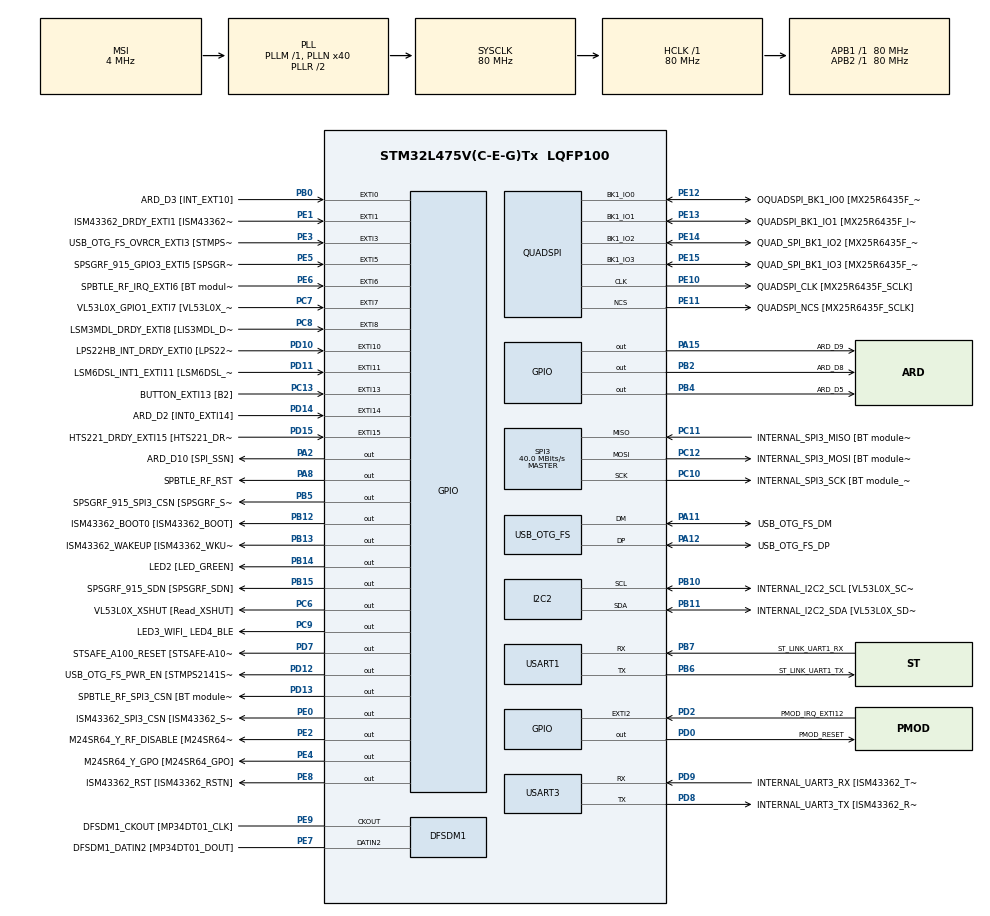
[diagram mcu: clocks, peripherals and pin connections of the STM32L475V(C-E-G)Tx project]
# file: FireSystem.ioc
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FREERTOS.BinarySemaphores01=myBinarySem01,Dynamic,NULL;myBinarySem02,Dynamic,NULL;myBinarySem03,Dynamic,NULL
FREERTOS.Mutexes01=myMutex01,Dynamic,NULL
FREERTOS.Queues01=myQueue01,256,Data,0,Dynamic,NULL,NULL;myQueue02,64,Temp,0,Dynamic,NULL,NULL;myQueue03,64,Temp,0,Dynamic,NULL,NULL
FREERTOS.Tasks01=TaskBottone,2,128,StartTaskBottone,Default,NULL,Dynamic,NULL,NULL;TaskTemperatura,0,128,StartTaskTemperatura,Default,NULL,Dynamic,NULL,NULL;TaskDistanza,0,512,StartTaskDistanza,Default,NULL,Dynamic,NULL,NULL;TaskLed,0,128,StartTaskLed,Default,NULL,Dynamic,NULL,NULL
FREERTOS.configENABLE_FPU=1
FREERTOS.configGENERATE_RUN_TIME_STATS=1
FREERTOS.configRECORD_STACK_HIGH_ADDRESS=1
FREERTOS.configTOTAL_HEAP_SIZE=8000
FREERTOS.configUSE_APPLICATION_TASK_TAG=1
FREERTOS.configUSE_COUNTING_SEMAPHORES=1
FREERTOS.configUSE_CO_ROUTINES=1
FREERTOS.configUSE_IDLE_HOOK=1
FREERTOS.configUSE_MALLOC_FAILED_HOOK=1
FREERTOS.configUSE_RECURSIVE_MUTEXES=1
FREERTOS.configUSE_STATS_FORMATTING_FUNCTIONS=1
FREERTOS.configUSE_TICK_HOOK=1
FREERTOS.configUSE_TIMERS=1
FREERTOS.configUSE_TRACE_FACILITY=1
Mcu.Family=STM32L4
Mcu.Name=STM32L475V(C-E-G)Tx
Mcu.Package=LQFP100
NVIC.EXTI15_10_IRQn=true\:5\:0\:false\:false\:true\:true\:true\:true
NVIC.EXTI9_5_IRQn=true\:5\:0\:false\:false\:true\:true\:true\:true
NVIC.PriorityGroup=NVIC_PRIORITYGROUP_4
PA0.GPIO_Label=ARD_D1 [UART4_TX]
PA0.Signal=UART4_TX
PA1.GPIO_Label=ARD_D0 [UART4_RX]
PA1.Signal=UART4_RX
PA10.GPIO_Label=USB_OTG_FS_ID
PA10.Signal=USB_OTG_FS_ID
PA11.GPIO_Label=USB_OTG_FS_DM
PA11.Mode=Device_Only
PA11.Signal=USB_OTG_FS_DM
PA12.GPIO_Label=USB_OTG_FS_DP
PA12.Mode=Device_Only
PA12.Signal=USB_OTG_FS_DP
PA13\ (JTMS-SWDIO).GPIO_Label=SYS_JTMS_SWDIO
PA13\ (JTMS-SWDIO).Mode=Serial_Wire
PA13\ (JTMS-SWDIO).Signal=SYS_JTMS-SWDIO
PA14\ (JTCK-SWCLK).GPIO_Label=SYS_JTCK_SWCLK
PA14\ (JTCK-SWCLK).Mode=Serial_Wire
PA14\ (JTCK-SWCLK).Signal=SYS_JTCK-SWCLK
PA15\ (JTDI).GPIO_Label=ARD_D9
PA15\ (JTDI).Signal=GPIO_Output
PA2.GPIO_Label=ARD_D10 [SPI_SSN]
PA2.Signal=GPIO_Output
PA3.GPIO_Label=ARD_D4
PA3.Signal=S_TIM2_CH4
PA4.GPIO_Label=ARD_D7
PA4.Signal=ADCx_IN9
PA5.GPIO_Label=ARD_D13 [SPI1_SCK]
PA5.Signal=SPI1_SCK
PA6.GPIO_Label=ARD_D12 [SPI1_MISO]
PA6.Signal=SPI1_MISO
PA7.GPIO_Label=ARD_D11 [SPI1_MOSI]
PA7.Signal=SPI1_MOSI
PA8.GPIO_Label=SPBTLE_RF_RST
PA8.Signal=GPIO_Output
PA9.GPIO_Label=USB_OTG_FS_VBUS [STMPS2141STR_OUT]
PA9.Signal=USB_OTG_FS_VBUS
PB0.GPIO_Label=ARD_D3 [INT_EXT10]
PB0.Signal=GPXTI0
PB1.GPIO_Label=ARD_D6 [ADC1_IN6]
PB1.Signal=ADCx_IN16
PB10.GPIO_Label=INTERNAL_I2C2_SCL [VL53L0X_SCL]
PB10.Mode=I2C
PB10.Signal=I2C2_SCL
PB11.GPIO_Label=INTERNAL_I2C2_SDA [VL53L0X_SDA]
PB11.Mode=I2C
PB11.Signal=I2C2_SDA
PB12.GPIO_Label=ISM43362_BOOT0 [ISM43362_BOOT]
PB12.Signal=GPIO_Output
PB13.GPIO_Label=ISM43362_WAKEUP [ISM43362_WKUP]
PB13.Signal=GPIO_Output
PB14.GPIO_Label=LED2 [LED_GREEN]
PB14.Signal=GPIO_Output
PB15.GPIO_Label=SPSGRF_915_SDN [SPSGRF_SDN]
PB15.Signal=GPIO_Output
PB2.GPIO_Label=ARD_D8
PB2.Signal=GPIO_Output
PB3\ (JTDO-TRACESWO).GPIO_Label=SYS_JTD0_SWO
PB3\ (JTDO-TRACESWO).Signal=SYS_JTDO-SWO
PB4\ (NJTRST).GPIO_Label=ARD_D5
PB4\ (NJTRST).Signal=GPIO_Output
PB5.GPIO_Label=SPSGRF_915_SPI3_CSN [SPSGRF_SPI_CS]
PB5.PinState=GPIO_PIN_SET
PB5.Signal=GPIO_Output
PB6.GPIO_Label=ST_LINK_UART1_TX
PB6.Mode=Asynchronous
PB6.Signal=USART1_TX
PB7.GPIO_Label=ST_LINK_UART1_RX
PB7.Mode=Asynchronous
PB7.Signal=USART1_RX
PB8.GPIO_Label=ARD_D15 [I2C1_SCL]
PB8.Signal=I2C1_SCL
PB9.GPIO_Label=ARD_D14 [I2C1_SDA]
PB9.Signal=I2C1_SDA
PC0.GPIO_Label=ARD_A5 [ADC]
PC0.Signal=ADCx_IN1
PC1.GPIO_Label=ARD_A4 [ADC]
PC1.Signal=ADCx_IN2
PC10.GPIO_Label=INTERNAL_SPI3_SCK [BT module_SPI_SCLK] [ISM43362_SCK]
PC10.Mode=Full_Duplex_Master
PC10.Signal=SPI3_SCK
PC11.GPIO_Label=INTERNAL_SPI3_MISO [BT module_SPI_MISO] [ISM43362_MISO]
PC11.Mode=Full_Duplex_Master
PC11.Signal=SPI3_MISO
PC12.GPIO_Label=INTERNAL_SPI3_MOSI [BT module_SPI_MOSI] [ISM43362_MOSI]
PC12.Mode=Full_Duplex_Master
PC12.Signal=SPI3_MOSI
PC13.GPIO_Label=BUTTON_EXTI13 [B2]
PC13.GPIO_ModeDefaultEXTI=GPIO_MODE_IT_FALLING
PC13.Signal=GPXTI13
PC14-OSC32_IN\ (PC14).Mode=LSE-External-Oscillator
PC14-OSC32_IN\ (PC14).Signal=RCC_OSC32_IN
PC15-OSC32_OUT\ (PC15).Mode=LSE-External-Oscillator
PC15-OSC32_OUT\ (PC15).Signal=RCC_OSC32_OUT
PC2.GPIO_Label=ARD_A3 [ADC]
PC2.Signal=ADCx_IN3
PC3.GPIO_Label=ARD_A2 [ADC]
PC3.Signal=ADCx_IN4
PC4.GPIO_Label=ARD_A1 [ADC]
PC4.Signal=ADCx_IN13
PC5.GPIO_Label=ARD_A0 [ADC]
PC5.Signal=ADCx_IN14
PC6.GPIO_Label=VL53L0X_XSHUT [Read_XSHUT]
PC6.Signal=GPIO_Output
PC7.GPIO_Label=VL53L0X_GPIO1_EXTI7 [VL53L0X_GPIO1]
PC7.Signal=GPXTI7
PC8.GPIO_Label=LSM3MDL_DRDY_EXTI8 [LIS3MDL_DRDY]
PC8.Signal=GPXTI8
PC9.GPIO_Label=LED3_WIFI_ LED4_BLE
PC9.Signal=GPIO_Output
PD0.GPIO_Label=PMOD_RESET
PD0.Signal=GPIO_Output
PD1.GPIO_Label=PMOD_SPI2_SCK
PD1.Signal=SPI2_SCK
PD10.GPIO_Label=LPS22HB_INT_DRDY_EXTI0 [LPS22HB_INT_DRDY] 
PD10.Signal=GPXTI10
PD11.GPIO_Label=LSM6DSL_INT1_EXTI11 [LSM6DSL_INT1]
PD11.Signal=GPXTI11
PD12.GPIO_Label=USB_OTG_FS_PWR_EN [STMPS2141STR_EN]
PD12.Signal=GPIO_Output
PD13.GPIO_Label=SPBTLE_RF_SPI3_CSN [BT module_SPI_CS]
PD13.PinState=GPIO_PIN_SET
PD13.Signal=GPIO_Output
PD14.GPIO_Label=ARD_D2 [INT0_EXTI14]
PD14.Signal=GPXTI14
PD15.GPIO_Label=HTS221_DRDY_EXTI15 [HTS221_DRDY]
PD15.Signal=GPXTI15
PD2.GPIO_Label=PMOD_IRQ_EXTI12
PD2.Signal=GPXTI2
PD3.GPIO_Label=PMOD_UART2_CTS
PD3.Signal=USART2_CTS
PD4.GPIO_Label=PMOD_UART2_RTS
PD4.Signal=USART2_RTS
PD5.GPIO_Label=PMOD_UART2_TX
PD5.Signal=USART2_TX
PD6.GPIO_Label=PMOD_UART2_RX
PD6.Signal=USART2_RX
PD7.GPIO_Label=STSAFE_A100_RESET [STSAFE-A100_RESET]
PD7.Signal=GPIO_Output
PD8.GPIO_Label=INTERNAL_UART3_TX [ISM43362_RX]
PD8.Mode=Asynchronous
PD8.Signal=USART3_TX
PD9.GPIO_Label=INTERNAL_UART3_RX [ISM43362_TX]
PD9.Mode=Asynchronous
PD9.Signal=USART3_RX
PE0.GPIO_Label=ISM43362_SPI3_CSN [ISM43362_SSN]
PE0.PinState=GPIO_PIN_SET
PE0.Signal=GPIO_Output
PE1.GPIO_Label=ISM43362_DRDY_EXTI1 [ISM43362_DATARDY]
PE1.Signal=GPXTI1
PE10.GPIO_Label=QUADSPI_CLK [MX25R6435F_SCLK]
PE10.Mode=Single Bank
PE10.Signal=QUADSPI_CLK
PE11.GPIO_Label=QUADSPI_NCS [MX25R6435F_SCLK]
PE11.Mode=Single Bank
PE11.Signal=QUADSPI_NCS
PE12.GPIO_Label=OQUADSPI_BK1_IO0 [MX25R6435F_IO0]
PE12.Mode=Single Bank
PE12.Signal=QUADSPI_BK1_IO0
PE13.GPIO_Label=QUADSPI_BK1_IO1 [MX25R6435F_IO1]
PE13.Mode=Single Bank
PE13.Signal=QUADSPI_BK1_IO1
PE14.GPIO_Label=QUAD_SPI_BK1_IO2 [MX25R6435F_IO2]
PE14.Mode=Single Bank
PE14.Signal=QUADSPI_BK1_IO2
PE15.GPIO_Label=QUAD_SPI_BK1_IO3 [MX25R6435F_IO3]
PE15.Mode=Single Bank
PE15.Signal=QUADSPI_BK1_IO3
PE2.GPIO_Label=M24SR64_Y_RF_DISABLE [M24SR64_RFDIS]
PE2.Signal=GPIO_Output
PE3.GPIO_Label=USB_OTG_FS_OVRCR_EXTI3 [STMPS2141STR_FAULT]
PE3.Signal=GPXTI3
PE4.GPIO_Label=M24SR64_Y_GPO [M24SR64_GPO]
PE4.Signal=GPIO_Output
PE5.GPIO_Label=SPSGRF_915_GPIO3_EXTI5 [SPSGRF_GPIO_3]
PE5.Signal=GPXTI5
PE6.GPIO_Label=SPBTLE_RF_IRQ_EXTI6 [BT module_SPI_IRQ]
PE6.Signal=GPXTI6
PE7.GPIO_Label=DFSDM1_DATIN2 [MP34DT01_DOUT]
PE7.Signal=S_DATAIN2DFSDM1
PE8.GPIO_Label=ISM43362_RST [ISM43362_RSTN]
PE8.Signal=GPIO_Output
PE9.GPIO_Label=DFSDM1_CKOUT [MP34DT01_CLK]
PE9.Signal=S_CKOUTDFSDM1
ProjectManager.HeapSize=0x200
ProjectManager.StackSize=0x400
ProjectManager.TargetToolchain=STM32CubeIDE
RCC.ADCFreq_Value=48000000
RCC.AHBFreq_Value=80000000
RCC.APB1Freq_Value=80000000
RCC.APB1TimFreq_Value=80000000
RCC.APB2Freq_Value=80000000
RCC.APB2TimFreq_Value=80000000
RCC.CortexFreq_Value=80000000
RCC.HCLKFreq_Value=80000000
RCC.HSE_VALUE=8000000
RCC.HSI_VALUE=16000000
RCC.MSI_VALUE=4000000
RCC.PLLN=40
RCC.PLLSAI1N=24
RCC.SYSCLKFreq_VALUE=80000000
RCC.SYSCLKSource=RCC_SYSCLKSOURCE_PLLCLK
RCC.USBFreq_Value=48000000
RCC.VCOOutputFreq_Value=160000000
SH.ADCx_IN1.0=ADC1_IN1
SH.ADCx_IN13.0=ADC1_IN13
SH.ADCx_IN14.0=ADC1_IN14
SH.ADCx_IN16.0=ADC1_IN16
SH.ADCx_IN2.0=ADC1_IN2
SH.ADCx_IN3.0=ADC1_IN3
SH.ADCx_IN4.0=ADC1_IN4
SH.ADCx_IN9.0=ADC1_IN9
SH.S_CKOUTDFSDM1.0=DFSDM1_CKOUT,CKOUT
SH.S_CKOUTDFSDM1.1=DFSDM1_CKOUT,PDM_SPI_Input_from_ch12_and_Internal_Clock
SH.S_DATAIN2DFSDM1.0=DFSDM1_DATIN2,PDM_SPI_Input_from_ch12_and_Internal_Clock
SH.S_TIM2_CH4.0=TIM2_CH4
SPI3.CalculateBaudRate=40.0 MBits/s
SPI3.Direction=SPI_DIRECTION_2LINES
SPI3.Mode=SPI_MODE_MASTER
SPI3.VirtualType=VM_MASTER
USART1.VirtualMode-Asynchronous=VM_ASYNC
USART3.VirtualMode-Asynchronous=VM_ASYNC
USB_OTG_FS.VirtualMode=Device_Only
VP_FREERTOS_VS_CMSIS_V1.Mode=CMSIS_V1
board=B-L475E-IOT01A1

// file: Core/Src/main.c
/* USER CODE BEGIN Header */
/**
  ******************************************************************************
  * @file           : main.c
  * @brief          : Main program body
  ******************************************************************************
  * @attention
  *
  * <h2><center>&copy; Copyright (c) 2020 STMicroelectronics.
  * All rights reserved.</center></h2>
  *
  * This software component is licensed by ST under BSD 3-Clause license,
  * the "License"; You may not use this file except in compliance with the
  * License. You may obtain a copy of the License at:
  *                        opensource.org/licenses/BSD-3-Clause
  *
  ******************************************************************************
  */
/* USER CODE END Header */

#include "main.h"
#include "cmsis_os.h"

/* USER CODE BEGIN Includes */
#include "vl53l0x_proximity.h"
#include "vl53l0x_platform.h"
#include "vl53l0x_device.h"

#include "stm32l4xx_hal.h"

#include "vl53l0x_api_ranging.h"
#include "vl53l0x_api.h"
#include "stdio.h"
#include "math.h"
#include "stm32l475e_iot01_tsensor.h"
#include "stm32l475e_iot01.h"
#include "tof_gestures_DIRSWIPE_1.h"
#include "tof_gestures_platform.h"
#include "tof_gestures_SWIPE_1.h"
#include "tof_gestures_TAP_1.h"
#include "tof_gestures_types.h"
#include "tof_gestures.h"
#include "tof_motion.h"

#include "message.h"
#include "time.h"
/* USER CODE END Includes */

/* USER CODE BEGIN PD */
#define tempMax 28
#define nTempValid 5
#define distMax 100
#define distMin 50
/* USER CODE END PD */

DFSDM_Channel_HandleTypeDef hdfsdm1_channel1;

I2C_HandleTypeDef hi2c2;

QSPI_HandleTypeDef hqspi;

SPI_HandleTypeDef hspi3;

UART_HandleTypeDef huart1;
UART_HandleTypeDef huart3;

PCD_HandleTypeDef hpcd_USB_OTG_FS;

osThreadId TaskBottoneHandle;
osThreadId TaskTemperaturaHandle;
osThreadId TaskDistanzaHandle;
osThreadId TaskLedHandle;
osMessageQId myQueue01Handle;
osMessageQId myQueue02Handle;
osMessageQId myQueue03Handle;
osMutexId myMutex01Handle;
osSemaphoreId myBinarySem01Handle;
osSemaphoreId myBinarySem02Handle;
osSemaphoreId myBinarySem03Handle;
/* USER CODE BEGIN PV */
char str_tmp2[30];
char str_tmp4[30];
char str_tmp5[30];
char arrivato[20]="arrivato\r\n";
int delay = 1500;
int messaggioInviato = 0;
int messaggioTrasmesso = 0;
uint8_t temp_value=0;
int nTempBasse=0;
int nTempAlte=0;
int b2=1;
int b3=1;
osEvent distanzaRicevuta;
osEvent tempRicevuta;
osEvent statoPulsanteRicevuto;
uint32_t bitstatus=0;
int pulsante = 0;
int incendio = 0;
int action = 0;

uint32_t time1=0;
uint32_t time2=0;
uint32_t time3=0;
uint32_t time4=0;

typedef struct{
	uint16_t Distance;
	int Gesture;
} Data;

typedef struct{
	uint16_t tempValue;
	int id;
} Temp;

Gesture_SWIPE_1_Data_t gestureSwipeData;

/* USER CODE END PV */

void SystemClock_Config(void);
static void MX_GPIO_Init(void);
static void MX_DFSDM1_Init(void);
static void MX_I2C2_Init(void);
static void MX_QUADSPI_Init(void);
static void MX_SPI3_Init(void);
static void MX_USART1_UART_Init(void);
static void MX_USART3_UART_Init(void);
static void MX_USB_OTG_FS_PCD_Init(void);
void StartTaskBottone(void const * argument);
void StartTaskTemperatura(void const * argument);
void StartTaskDistanza(void const * argument);
void StartTaskLed(void const * argument);

int main(void)
{

  /* MCU Configuration--------------------------------------------------------*/

  /* Reset of all peripherals, Initializes the Flash interface and the Systick. */
  HAL_Init();

  /* Configure the system clock */
  SystemClock_Config();

  /* Initialize all configured peripherals */
  MX_GPIO_Init();
  MX_DFSDM1_Init();
  MX_I2C2_Init();
  MX_QUADSPI_Init();
  MX_SPI3_Init();
  MX_USART1_UART_Init();
  MX_USART3_UART_Init();
  MX_USB_OTG_FS_PCD_Init();
  /* USER CODE BEGIN 2 */
  VL53L0X_PROXIMITY_Init();
  BSP_TSENSOR_Init();
  tof_gestures_initSWIPE_1(&gestureSwipeData);
  /* USER CODE END 2 */
  /* Create the mutex(es) */
  /* definition and creation of myMutex01 */
  osMutexDef(myMutex01);
  myMutex01Handle = osMutexCreate(osMutex(myMutex01));

  /* Create the semaphores(s) */
   /* definition and creation of myBinarySem02 */
  osSemaphoreDef(myBinarySem02);
  myBinarySem02Handle = osSemaphoreCreate(osSemaphore(myBinarySem02), 1);

  /* definition and creation of myBinarySem03 */
  osSemaphoreDef(myBinarySem03);
  myBinarySem03Handle = osSemaphoreCreate(osSemaphore(myBinarySem03), 1);

  /* Create the queue(s) */
  /* definition and creation of myQueue01 */
  osMessageQDef(myQueue01, 256, Data);
  myQueue01Handle = osMessageCreate(osMessageQ(myQueue01), NULL);

  /* definition and creation of myQueue02 */
  osMessageQDef(myQueue02, 64, Temp);
  myQueue02Handle = osMessageCreate(osMessageQ(myQueue02), NULL);

  /* definition and creation of myQueue03 */
  osMessageQDef(myQueue03, 64, Temp);
  myQueue03Handle = osMessageCreate(osMessageQ(myQueue03), NULL);

  /* Create the thread(s) */
  /* definition and creation of TaskBottone */
  osThreadDef(TaskBottone, StartTaskBottone, osPriorityHigh, 0, 128);
  TaskBottoneHandle = osThreadCreate(osThread(TaskBottone), NULL);

  /* definition and creation of TaskTemperatura */
  osThreadDef(TaskTemperatura, StartTaskTemperatura, osPriorityNormal, 0, 128);
  TaskTemperaturaHandle = osThreadCreate(osThread(TaskTemperatura), NULL);

  /* definition and creation of TaskDistanza */
  osThreadDef(TaskDistanza, StartTaskDistanza, osPriorityNormal, 0, 512);
  TaskDistanzaHandle = osThreadCreate(osThread(TaskDistanza), NULL);

  /* definition and creation of TaskLed */
  osThreadDef(TaskLed, StartTaskLed, osPriorityNormal, 0, 128);
  TaskLedHandle = osThreadCreate(osThread(TaskLed), NULL);

  /* Start scheduler */
  osKernelStart();

  /* We should never get here as control is now taken by the scheduler */

  /* Infinite loop */
  while (1)
  {

  }
}

void SystemClock_Config(void)
{
  RCC_OscInitTypeDef RCC_OscInitStruct = {0};
  RCC_ClkInitTypeDef RCC_ClkInitStruct = {0};
  RCC_PeriphCLKInitTypeDef PeriphClkInit = {0};

  /** Configure LSE Drive Capability
  */
  HAL_PWR_EnableBkUpAccess();
  __HAL_RCC_LSEDRIVE_CONFIG(RCC_LSEDRIVE_LOW);
  /** Initializes the CPU, AHB and APB busses clocks
  */
  RCC_OscInitStruct.OscillatorType = RCC_OSCILLATORTYPE_LSE|RCC_OSCILLATORTYPE_MSI;
  RCC_OscInitStruct.LSEState = RCC_LSE_ON;
  RCC_OscInitStruct.MSIState = RCC_MSI_ON;
  RCC_OscInitStruct.MSICalibrationValue = 0;
  RCC_OscInitStruct.MSIClockRange = RCC_MSIRANGE_6;
  RCC_OscInitStruct.PLL.PLLState = RCC_PLL_ON;
  RCC_OscInitStruct.PLL.PLLSource = RCC_PLLSOURCE_MSI;
  RCC_OscInitStruct.PLL.PLLM = 1;
  RCC_OscInitStruct.PLL.PLLN = 40;
  RCC_OscInitStruct.PLL.PLLP = RCC_PLLP_DIV7;
  RCC_OscInitStruct.PLL.PLLQ = RCC_PLLQ_DIV2;
  RCC_OscInitStruct.PLL.PLLR = RCC_PLLR_DIV2;
  if (HAL_RCC_OscConfig(&RCC_OscInitStruct) != HAL_OK)
  {
    Error_Handler();
  }
  /** Initializes the CPU, AHB and APB busses clocks
  */
  RCC_ClkInitStruct.ClockType = RCC_CLOCKTYPE_HCLK|RCC_CLOCKTYPE_SYSCLK
                              |RCC_CLOCKTYPE_PCLK1|RCC_CLOCKTYPE_PCLK2;
  RCC_ClkInitStruct.SYSCLKSource = RCC_SYSCLKSOURCE_PLLCLK;
  RCC_ClkInitStruct.AHBCLKDivider = RCC_SYSCLK_DIV1;
  RCC_ClkInitStruct.APB1CLKDivider = RCC_HCLK_DIV1;
  RCC_ClkInitStruct.APB2CLKDivider = RCC_HCLK_DIV1;

  if (HAL_RCC_ClockConfig(&RCC_ClkInitStruct, FLASH_LATENCY_4) != HAL_OK)
  {
    Error_Handler();
  }
  PeriphClkInit.PeriphClockSelection = RCC_PERIPHCLK_USART1|RCC_PERIPHCLK_USART3
                              |RCC_PERIPHCLK_I2C2|RCC_PERIPHCLK_DFSDM1
                              |RCC_PERIPHCLK_USB;
  PeriphClkInit.Usart1ClockSelection = RCC_USART1CLKSOURCE_PCLK2;
  PeriphClkInit.Usart3ClockSelection = RCC_USART3CLKSOURCE_PCLK1;
  PeriphClkInit.I2c2ClockSelection = RCC_I2C2CLKSOURCE_PCLK1;
  PeriphClkInit.Dfsdm1ClockSelection = RCC_DFSDM1CLKSOURCE_PCLK;
  PeriphClkInit.UsbClockSelection = RCC_USBCLKSOURCE_PLLSAI1;
  PeriphClkInit.PLLSAI1.PLLSAI1Source = RCC_PLLSOURCE_MSI;
  PeriphClkInit.PLLSAI1.PLLSAI1M = 1;
  PeriphClkInit.PLLSAI1.PLLSAI1N = 24;
  PeriphClkInit.PLLSAI1.PLLSAI1P = RCC_PLLP_DIV7;
  PeriphClkInit.PLLSAI1.PLLSAI1Q = RCC_PLLQ_DIV2;
  PeriphClkInit.PLLSAI1.PLLSAI1R = RCC_PLLR_DIV2;
  PeriphClkInit.PLLSAI1.PLLSAI1ClockOut = RCC_PLLSAI1_48M2CLK;
  if (HAL_RCCEx_PeriphCLKConfig(&PeriphClkInit) != HAL_OK)
  {
    Error_Handler();
  }
  /** Configure the main internal regulator output voltage
  */
  if (HAL_PWREx_ControlVoltageScaling(PWR_REGULATOR_VOLTAGE_SCALE1) != HAL_OK)
  {
    Error_Handler();
  }
  /** Enable MSI Auto calibration
  */
  HAL_RCCEx_EnableMSIPLLMode();
}

static void MX_DFSDM1_Init(void)
{

  hdfsdm1_channel1.Instance = DFSDM1_Channel1;
  hdfsdm1_channel1.Init.OutputClock.Activation = ENABLE;
  hdfsdm1_channel1.Init.OutputClock.Selection = DFSDM_CHANNEL_OUTPUT_CLOCK_SYSTEM;
  hdfsdm1_channel1.Init.OutputClock.Divider = 2;
  hdfsdm1_channel1.Init.Input.Multiplexer = DFSDM_CHANNEL_EXTERNAL_INPUTS;
  hdfsdm1_channel1.Init.Input.DataPacking = DFSDM_CHANNEL_STANDARD_MODE;
  hdfsdm1_channel1.Init.Input.Pins = DFSDM_CHANNEL_FOLLOWING_CHANNEL_PINS;
  hdfsdm1_channel1.Init.SerialInterface.Type = DFSDM_CHANNEL_SPI_RISING;
  hdfsdm1_channel1.Init.SerialInterface.SpiClock = DFSDM_CHANNEL_SPI_CLOCK_INTERNAL;
  hdfsdm1_channel1.Init.Awd.FilterOrder = DFSDM_CHANNEL_FASTSINC_ORDER;
  hdfsdm1_channel1.Init.Awd.Oversampling = 1;
  hdfsdm1_channel1.Init.Offset = 0;
  hdfsdm1_channel1.Init.RightBitShift = 0x00;
  if (HAL_DFSDM_ChannelInit(&hdfsdm1_channel1) != HAL_OK)
  {
    Error_Handler();
  }

}

static void MX_I2C2_Init(void)
{

  hi2c2.Instance = I2C2;
  hi2c2.Init.Timing = 0x10909CEC;
  hi2c2.Init.OwnAddress1 = 0;
  hi2c2.Init.AddressingMode = I2C_ADDRESSINGMODE_7BIT;
  hi2c2.Init.DualAddressMode = I2C_DUALADDRESS_DISABLE;
  hi2c2.Init.OwnAddress2 = 0;
  hi2c2.Init.OwnAddress2Masks = I2C_OA2_NOMASK;
  hi2c2.Init.GeneralCallMode = I2C_GENERALCALL_DISABLE;
  hi2c2.Init.NoStretchMode = I2C_NOSTRETCH_DISABLE;
  if (HAL_I2C_Init(&hi2c2) != HAL_OK)
  {
    Error_Handler();
  }
  /** Configure Analogue filter
  */
  if (HAL_I2CEx_ConfigAnalogFilter(&hi2c2, I2C_ANALOGFILTER_ENABLE) != HAL_OK)
  {
    Error_Handler();
  }
  /** Configure Digital filter
  */
  if (HAL_I2CEx_ConfigDigitalFilter(&hi2c2, 0) != HAL_OK)
  {
    Error_Handler();
  }

}

static void MX_QUADSPI_Init(void)
{

  /* QUADSPI parameter configuration*/
  hqspi.Instance = QUADSPI;
  hqspi.Init.ClockPrescaler = 255;
  hqspi.Init.FifoThreshold = 1;
  hqspi.Init.SampleShifting = QSPI_SAMPLE_SHIFTING_NONE;
  hqspi.Init.FlashSize = 1;
  hqspi.Init.ChipSelectHighTime = QSPI_CS_HIGH_TIME_1_CYCLE;
  hqspi.Init.ClockMode = QSPI_CLOCK_MODE_0;
  if (HAL_QSPI_Init(&hqspi) != HAL_OK)
  {
    Error_Handler();
  }

}

static void MX_SPI3_Init(void)
{

  /* SPI3 parameter configuration*/
  hspi3.Instance = SPI3;
  hspi3.Init.Mode = SPI_MODE_MASTER;
  hspi3.Init.Direction = SPI_DIRECTION_2LINES;
  hspi3.Init.DataSize = SPI_DATASIZE_4BIT;
  hspi3.Init.CLKPolarity = SPI_POLARITY_LOW;
  hspi3.Init.CLKPhase = SPI_PHASE_1EDGE;
  hspi3.Init.NSS = SPI_NSS_SOFT;
  hspi3.Init.BaudRatePrescaler = SPI_BAUDRATEPRESCALER_2;
  hspi3.Init.FirstBit = SPI_FIRSTBIT_MSB;
  hspi3.Init.TIMode = SPI_TIMODE_DISABLE;
  hspi3.Init.CRCCalculation = SPI_CRCCALCULATION_DISABLE;
  hspi3.Init.CRCPolynomial = 7;
  hspi3.Init.CRCLength = SPI_CRC_LENGTH_DATASIZE;
  hspi3.Init.NSSPMode = SPI_NSS_PULSE_ENABLE;
  if (HAL_SPI_Init(&hspi3) != HAL_OK)
  {
    Error_Handler();
  }

}

static void MX_USART1_UART_Init(void)
{

  huart1.Instance = USART1;
  huart1.Init.BaudRate = 115200;
  huart1.Init.WordLength = UART_WORDLENGTH_8B;
  huart1.Init.StopBits = UART_STOPBITS_1;
  huart1.Init.Parity = UART_PARITY_NONE;
  huart1.Init.Mode = UART_MODE_TX_RX;
  huart1.Init.HwFlowCtl = UART_HWCONTROL_NONE;
  huart1.Init.OverSampling = UART_OVERSAMPLING_16;
  huart1.Init.OneBitSampling = UART_ONE_BIT_SAMPLE_DISABLE;
  huart1.AdvancedInit.AdvFeatureInit = UART_ADVFEATURE_NO_INIT;
  if (HAL_UART_Init(&huart1) != HAL_OK)
  {
    Error_Handler();
  }

}

static void MX_USART3_UART_Init(void)
{

  huart3.Instance = USART3;
  huart3.Init.BaudRate = 115200;
  huart3.Init.WordLength = UART_WORDLENGTH_8B;
  huart3.Init.StopBits = UART_STOPBITS_1;
  huart3.Init.Parity = UART_PARITY_NONE;
  huart3.Init.Mode = UART_MODE_TX_RX;
  huart3.Init.HwFlowCtl = UART_HWCONTROL_NONE;
  huart3.Init.OverSampling = UART_OVERSAMPLING_16;
  huart3.Init.OneBitSampling = UART_ONE_BIT_SAMPLE_DISABLE;
  huart3.AdvancedInit.AdvFeatureInit = UART_ADVFEATURE_NO_INIT;
  if (HAL_UART_Init(&huart3) != HAL_OK)
  {
    Error_Handler();
  }

}

static void MX_USB_OTG_FS_PCD_Init(void)
{

  hpcd_USB_OTG_FS.Instance = USB_OTG_FS;
  hpcd_USB_OTG_FS.Init.dev_endpoints = 6;
  hpcd_USB_OTG_FS.Init.speed = PCD_SPEED_FULL;
  hpcd_USB_OTG_FS.Init.phy_itface = PCD_PHY_EMBEDDED;
  hpcd_USB_OTG_FS.Init.Sof_enable = DISABLE;
  hpcd_USB_OTG_FS.Init.low_power_enable = DISABLE;
  hpcd_USB_OTG_FS.Init.lpm_enable = DISABLE;
  hpcd_USB_OTG_FS.Init.battery_charging_enable = DISABLE;
  hpcd_USB_OTG_FS.Init.use_dedicated_ep1 = DISABLE;
  hpcd_USB_OTG_FS.Init.vbus_sensing_enable = DISABLE;
  if (HAL_PCD_Init(&hpcd_USB_OTG_FS) != HAL_OK)
  {
    Error_Handler();
  }

}

static void MX_GPIO_Init(void)
{
  GPIO_InitTypeDef GPIO_InitStruct = {0};

  /* GPIO Ports Clock Enable */
  __HAL_RCC_GPIOE_CLK_ENABLE();
  __HAL_RCC_GPIOC_CLK_ENABLE();
  __HAL_RCC_GPIOA_CLK_ENABLE();
  __HAL_RCC_GPIOB_CLK_ENABLE();
  __HAL_RCC_GPIOD_CLK_ENABLE();

  /*Configure GPIO pin Output Level */
  HAL_GPIO_WritePin(GPIOE, M24SR64_Y_RF_DISABLE_Pin|M24SR64_Y_GPO_Pin|ISM43362_RST_Pin, GPIO_PIN_RESET);

  /*Configure GPIO pin Output Level */
  HAL_GPIO_WritePin(GPIOA, ARD_D10_Pin|SPBTLE_RF_RST_Pin|ARD_D9_Pin, GPIO_PIN_RESET);

  /*Configure GPIO pin Output Level */
  HAL_GPIO_WritePin(GPIOB, ARD_D8_Pin|ISM43362_BOOT0_Pin|ISM43362_WAKEUP_Pin|LED2_Pin
                          |SPSGRF_915_SDN_Pin|ARD_D5_Pin, GPIO_PIN_RESET);

  /*Configure GPIO pin Output Level */
  HAL_GPIO_WritePin(GPIOD, USB_OTG_FS_PWR_EN_Pin|PMOD_RESET_Pin|STSAFE_A100_RESET_Pin, GPIO_PIN_RESET);

  /*Configure GPIO pin Output Level */
  HAL_GPIO_WritePin(SPBTLE_RF_SPI3_CSN_GPIO_Port, SPBTLE_RF_SPI3_CSN_Pin, GPIO_PIN_SET);

  /*Configure GPIO pin Output Level */
  HAL_GPIO_WritePin(GPIOC, VL53L0X_XSHUT_Pin|LED3_WIFI__LED4_BLE_Pin, GPIO_PIN_RESET);

  /*Configure GPIO pin Output Level */
  HAL_GPIO_WritePin(SPSGRF_915_SPI3_CSN_GPIO_Port, SPSGRF_915_SPI3_CSN_Pin, GPIO_PIN_SET);

  /*Configure GPIO pin Output Level */
  HAL_GPIO_WritePin(ISM43362_SPI3_CSN_GPIO_Port, ISM43362_SPI3_CSN_Pin, GPIO_PIN_SET);

  /*Configure GPIO pins : M24SR64_Y_RF_DISABLE_Pin M24SR64_Y_GPO_Pin ISM43362_RST_Pin ISM43362_SPI3_CSN_Pin */
  GPIO_InitStruct.Pin = M24SR64_Y_RF_DISABLE_Pin|M24SR64_Y_GPO_Pin|ISM43362_RST_Pin|ISM43362_SPI3_CSN_Pin;
  GPIO_InitStruct.Mode = GPIO_MODE_OUTPUT_PP;
  GPIO_InitStruct.Pull = GPIO_NOPULL;
  GPIO_InitStruct.Speed = GPIO_SPEED_FREQ_LOW;
  HAL_GPIO_Init(GPIOE, &GPIO_InitStruct);

  /*Configure GPIO pins : USB_OTG_FS_OVRCR_EXTI3_Pin SPSGRF_915_GPIO3_EXTI5_Pin SPBTLE_RF_IRQ_EXTI6_Pin ISM43362_DRDY_EXTI1_Pin */
  GPIO_InitStruct.Pin = USB_OTG_FS_OVRCR_EXTI3_Pin|SPSGRF_915_GPIO3_EXTI5_Pin|SPBTLE_RF_IRQ_EXTI6_Pin|ISM43362_DRDY_EXTI1_Pin;
  GPIO_InitStruct.Mode = GPIO_MODE_IT_RISING;
  GPIO_InitStruct.Pull = GPIO_NOPULL;
  HAL_GPIO_Init(GPIOE, &GPIO_InitStruct);

  /*Configure GPIO pin : BUTTON_EXTI13_Pin */
  GPIO_InitStruct.Pin = BUTTON_EXTI13_Pin;
  GPIO_InitStruct.Mode = GPIO_MODE_IT_FALLING;
  GPIO_InitStruct.Pull = GPIO_NOPULL;
  HAL_GPIO_Init(BUTTON_EXTI13_GPIO_Port, &GPIO_InitStruct);

  /*Configure GPIO pins : ARD_A5_Pin ARD_A4_Pin ARD_A3_Pin ARD_A2_Pin
                           ARD_A1_Pin ARD_A0_Pin */
  GPIO_InitStruct.Pin = ARD_A5_Pin|ARD_A4_Pin|ARD_A3_Pin|ARD_A2_Pin
                          |ARD_A1_Pin|ARD_A0_Pin;
  GPIO_InitStruct.Mode = GPIO_MODE_ANALOG_ADC_CONTROL;
  GPIO_InitStruct.Pull = GPIO_NOPULL;
  HAL_GPIO_Init(GPIOC, &GPIO_InitStruct);

  /*Configure GPIO pins : ARD_D1_Pin ARD_D0_Pin */
  GPIO_InitStruct.Pin = ARD_D1_Pin|ARD_D0_Pin;
  GPIO_InitStruct.Mode = GPIO_MODE_AF_PP;
  GPIO_InitStruct.Pull = GPIO_NOPULL;
  GPIO_InitStruct.Speed = GPIO_SPEED_FREQ_VERY_HIGH;
  GPIO_InitStruct.Alternate = GPIO_AF8_UART4;
  HAL_GPIO_Init(GPIOA, &GPIO_InitStruct);

  /*Configure GPIO pins : ARD_D10_Pin SPBTLE_RF_RST_Pin ARD_D9_Pin */
  GPIO_InitStruct.Pin = ARD_D10_Pin|SPBTLE_RF_RST_Pin|ARD_D9_Pin;
  GPIO_InitStruct.Mode = GPIO_MODE_OUTPUT_PP;
  GPIO_InitStruct.Pull = GPIO_NOPULL;
  GPIO_InitStruct.Speed = GPIO_SPEED_FREQ_LOW;
  HAL_GPIO_Init(GPIOA, &GPIO_InitStruct);

  /*Configure GPIO pin : ARD_D4_Pin */
  GPIO_InitStruct.Pin = ARD_D4_Pin;
  GPIO_InitStruct.Mode = GPIO_MODE_AF_PP;
  GPIO_InitStruct.Pull = GPIO_NOPULL;
  GPIO_InitStruct.Speed = GPIO_SPEED_FREQ_LOW;
  GPIO_InitStruct.Alternate = GPIO_AF1_TIM2;
  HAL_GPIO_Init(ARD_D4_GPIO_Port, &GPIO_InitStruct);

  /*Configure GPIO pin : ARD_D7_Pin */
  GPIO_InitStruct.Pin = ARD_D7_Pin;
  GPIO_InitStruct.Mode = GPIO_MODE_ANALOG_ADC_CONTROL;
  GPIO_InitStruct.Pull = GPIO_NOPULL;
  HAL_GPIO_Init(ARD_D7_GPIO_Port, &GPIO_InitStruct);

  /*Configure GPIO pins : ARD_D13_Pin ARD_D12_Pin ARD_D11_Pin */
  GPIO_InitStruct.Pin = ARD_D13_Pin|ARD_D12_Pin|ARD_D11_Pin;
  GPIO_InitStruct.Mode = GPIO_MODE_AF_PP;
  GPIO_InitStruct.Pull = GPIO_NOPULL;
  GPIO_InitStruct.Speed = GPIO_SPEED_FREQ_VERY_HIGH;
  GPIO_InitStruct.Alternate = GPIO_AF5_SPI1;
  HAL_GPIO_Init(GPIOA, &GPIO_InitStruct);

  /*Configure GPIO pin : ARD_D3_Pin */
  GPIO_InitStruct.Pin = ARD_D3_Pin;
  GPIO_InitStruct.Mode = GPIO_MODE_IT_RISING;
  GPIO_InitStruct.Pull = GPIO_NOPULL;
  HAL_GPIO_Init(ARD_D3_GPIO_Port, &GPIO_InitStruct);

  /*Configure GPIO pin : ARD_D6_Pin */
  GPIO_InitStruct.Pin = ARD_D6_Pin;
  GPIO_InitStruct.Mode = GPIO_MODE_ANALOG_ADC_CONTROL;
  GPIO_InitStruct.Pull = GPIO_NOPULL;
  HAL_GPIO_Init(ARD_D6_GPIO_Port, &GPIO_InitStruct);

  /*Configure GPIO pins : ARD_D8_Pin ISM43362_BOOT0_Pin ISM43362_WAKEUP_Pin LED2_Pin
                           SPSGRF_915_SDN_Pin ARD_D5_Pin SPSGRF_915_SPI3_CSN_Pin */
  GPIO_InitStruct.Pin = ARD_D8_Pin|ISM43362_BOOT0_Pin|ISM43362_WAKEUP_Pin|LED2_Pin
                          |SPSGRF_915_SDN_Pin|ARD_D5_Pin|SPSGRF_915_SPI3_CSN_Pin;
  GPIO_InitStruct.Mode = GPIO_MODE_OUTPUT_PP;
  GPIO_InitStruct.Pull = GPIO_NOPULL;
  GPIO_InitStruct.Speed = GPIO_SPEED_FREQ_LOW;
  HAL_GPIO_Init(GPIOB, &GPIO_InitStruct);

  /*Configure GPIO pins : LPS22HB_INT_DRDY_EXTI0_Pin LSM6DSL_INT1_EXTI11_Pin ARD_D2_Pin HTS221_DRDY_EXTI15_Pin
                           PMOD_IRQ_EXTI12_Pin */
  GPIO_InitStruct.Pin = LPS22HB_INT_DRDY_EXTI0_Pin|LSM6DSL_INT1_EXTI11_Pin|ARD_D2_Pin|HTS221_DRDY_EXTI15_Pin
                          |PMOD_IRQ_EXTI12_Pin;
  GPIO_InitStruct.Mode = GPIO_MODE_IT_RISING;
  GPIO_InitStruct.Pull = GPIO_NOPULL;
  HAL_GPIO_Init(GPIOD, &GPIO_InitStruct);

  /*Configure GPIO pins : USB_OTG_FS_PWR_EN_Pin SPBTLE_RF_SPI3_CSN_Pin PMOD_RESET_Pin STSAFE_A100_RESET_Pin */
  GPIO_InitStruct.Pin = USB_OTG_FS_PWR_EN_Pin|SPBTLE_RF_SPI3_CSN_Pin|PMOD_RESET_Pin|STSAFE_A100_RESET_Pin;
  GPIO_InitStruct.Mode = GPIO_MODE_OUTPUT_PP;
  GPIO_InitStruct.Pull = GPIO_NOPULL;
  GPIO_InitStruct.Speed = GPIO_SPEED_FREQ_LOW;
  HAL_GPIO_Init(GPIOD, &GPIO_InitStruct);

  /*Configure GPIO pins : VL53L0X_XSHUT_Pin LED3_WIFI__LED4_BLE_Pin */
  GPIO_InitStruct.Pin = VL53L0X_XSHUT_Pin|LED3_WIFI__LED4_BLE_Pin;
  GPIO_InitStruct.Mode = GPIO_MODE_OUTPUT_PP;
  GPIO_InitStruct.Pull = GPIO_NOPULL;
  GPIO_InitStruct.Speed = GPIO_SPEED_FREQ_LOW;
  HAL_GPIO_Init(GPIOC, &GPIO_InitStruct);

  /*Configure GPIO pins : VL53L0X_GPIO1_EXTI7_Pin LSM3MDL_DRDY_EXTI8_Pin */
  GPIO_InitStruct.Pin = VL53L0X_GPIO1_EXTI7_Pin|LSM3MDL_DRDY_EXTI8_Pin;
  GPIO_InitStruct.Mode = GPIO_MODE_IT_RISING;
  GPIO_InitStruct.Pull = GPIO_NOPULL;
  HAL_GPIO_Init(GPIOC, &GPIO_InitStruct);

  /*Configure GPIO pin : PMOD_SPI2_SCK_Pin */
  GPIO_InitStruct.Pin = PMOD_SPI2_SCK_Pin;
  GPIO_InitStruct.Mode = GPIO_MODE_AF_PP;
  GPIO_InitStruct.Pull = GPIO_NOPULL;
  GPIO_InitStruct.Speed = GPIO_SPEED_FREQ_VERY_HIGH;
  GPIO_InitStruct.Alternate = GPIO_AF5_SPI2;
  HAL_GPIO_Init(PMOD_SPI2_SCK_GPIO_Port, &GPIO_InitStruct);

  /*Configure GPIO pins : PMOD_UART2_CTS_Pin PMOD_UART2_RTS_Pin PMOD_UART2_TX_Pin PMOD_UART2_RX_Pin */
  GPIO_InitStruct.Pin = PMOD_UART2_CTS_Pin|PMOD_UART2_RTS_Pin|PMOD_UART2_TX_Pin|PMOD_UART2_RX_Pin;
  GPIO_InitStruct.Mode = GPIO_MODE_AF_PP;
  GPIO_InitStruct.Pull = GPIO_NOPULL;
  GPIO_InitStruct.Speed = GPIO_SPEED_FREQ_VERY_HIGH;
  GPIO_InitStruct.Alternate = GPIO_AF7_USART2;
  HAL_GPIO_Init(GPIOD, &GPIO_InitStruct);

  /*Configure GPIO pins : ARD_D15_Pin ARD_D14_Pin */
  GPIO_InitStruct.Pin = ARD_D15_Pin|ARD_D14_Pin;
  GPIO_InitStruct.Mode = GPIO_MODE_AF_OD;
  GPIO_InitStruct.Pull = GPIO_PULLUP;
  GPIO_InitStruct.Speed = GPIO_SPEED_FREQ_VERY_HIGH;
  GPIO_InitStruct.Alternate = GPIO_AF4_I2C1;
  HAL_GPIO_Init(GPIOB, &GPIO_InitStruct);

  /* EXTI interrupt init*/
  HAL_NVIC_SetPriority(EXTI9_5_IRQn, 5, 0);
  HAL_NVIC_EnableIRQ(EXTI9_5_IRQn);

  HAL_NVIC_SetPriority(EXTI15_10_IRQn, 5, 0);
  HAL_NVIC_EnableIRQ(EXTI15_10_IRQn);

}

void StartTaskBottone(void const * argument)
{
  /* USER CODE BEGIN 5 */
  /* Infinite loop */
  for(;;)
  {
	  osDelay(150);
	  osSemaphoreWait(myMutex01Handle,osWaitForever);
	  uint32_t start = HAL_GetTick();

	  	  	  bitstatus = HAL_GPIO_ReadPin(BUTTON_EXTI13_GPIO_Port, BUTTON_EXTI13_Pin);

	  	  	  //temperature basse, premo il pulsante -> il sistema si attiva
	  	  	  if(bitstatus == 0 && pulsante == 0 && incendio==0){
	  	  		  if(b2>0){
	  	  			b2=0;
	  	  			osSemaphoreRelease(myBinarySem02Handle);
	  	  		  }
	  	  		  pulsante = 1;
	  	  		  action = 0;
	  	  		  nTempBasse=0;
	  	  		  nTempAlte = nTempValid+1;
	  	  		  delay = 500;
	  	  		  Temp DataToSend = {1,0};
	  	  		  osMessagePut(myQueue03Handle,(uint32_t)&DataToSend,200);
	  	  		  HAL_UART_Transmit(&huart1,( uint8_t * )msg_attivato,sizeof(msg_attivato),HAL_MAX_DELAY);
	  	  	  }

	  	  	  // premo il pulsante -> il sistema si disattiva indipendentemente dalle temperature
	  	  	  else if (bitstatus == 0){
	  	  		 b2=1;
	  	  		 pulsante = 0;
	  	  		 incendio=0;
	  	  		 nTempAlte=0;
	  	  		 nTempBasse = 0;
	  	  		 action = 0;
	  	  		 delay = 1500;
	  	  		 Temp DataToSend = {0,0};
	  	  		 osMessagePut(myQueue03Handle,(uint32_t)&DataToSend,200);
	  	  		 HAL_UART_Transmit(&huart1,( uint8_t * )msg_disattivato,sizeof(msg_disattivato),HAL_MAX_DELAY);
	  	  	  }

	  		   uint32_t end = HAL_GetTick();
	  		   time1 = end - start;
	  	       osSemaphoreRelease(myMutex01Handle);
  }
  /* USER CODE END 5 */
}

void StartTaskTemperatura(void const * argument)
{
  /* USER CODE BEGIN StartTaskTemperatura */
  /* Infinite loop */
	  for(;;)
	  {
		  osDelay(delay);
		  osSemaphoreWait(myMutex01Handle,osWaitForever);
		  uint32_t start = HAL_GetTick();

		  //accendo il led verde quando la situazione è normale
		  if(nTempAlte == 0 && nTempBasse == 0){
			  HAL_GPIO_WritePin(LED2_GPIO_Port, LED2_Pin, GPIO_PIN_SET);
			  HAL_GPIO_WritePin(LED3_WIFI__LED4_BLE_GPIO_Port, LED3_WIFI__LED4_BLE_Pin,  GPIO_PIN_SET);
		  }

		   temp_value = BSP_TSENSOR_ReadTemp();
		   if(temp_value > tempMax){
			   nTempAlte++;
			   nTempBasse=0;
		   } else{
			   nTempBasse++;
			   if(nTempBasse>nTempValid && pulsante == 0){
					   nTempAlte = 0;
					   nTempBasse=0;
					   if(incendio==1){
						   incendio=0;
					   }
			   }
		   }

		   int tmpInt1 = temp_value;
		   float tmpFrac = temp_value - tmpInt1;
		   int tmpInt2 = trunc(tmpFrac * 100);

		   if(snprintf(str_tmp4,30,"Temperatura = %d.%02d\n\r", tmpInt1,tmpInt2)>0){
			   HAL_UART_Transmit(&huart1,( uint8_t * )str_tmp4,sizeof(str_tmp4),HAL_MAX_DELAY);
		   }
		   //se abbiamo letto molte temperature elevate, sblocchiamo il due e dichiariamo l'incendio
		   if(nTempAlte > nTempValid){
			   if(b2>0){
				   b2=0;
				   osSemaphoreRelease(myBinarySem02Handle);
				   HAL_UART_Transmit(&huart1,( uint8_t * )str_incendio,sizeof(str_incendio),HAL_MAX_DELAY);
			   }
			   incendio=1;
			   Temp DataToSend = {1,1};
			   osMessagePut(myQueue02Handle,(uint32_t)&DataToSend,200);
			   messaggioInviato = 1;
			   delay = 500;
		   }
		   else if(messaggioInviato == 1){
			   messaggioInviato = 0;
			   delay = 1500;
			   b2 = 1;
			   Temp DataToSend = {0,1};
			   osMessagePut(myQueue02Handle,(uint32_t)&DataToSend,200);
		   }
		   uint32_t end = HAL_GetTick();
		   time2 = end - start;
		   osSemaphoreRelease(myMutex01Handle);

	  }
  /* USER CODE END StartTaskTemperatura */
}

void StartTaskDistanza(void const * argument)
{
  /* USER CODE BEGIN StartTaskDistanza */
  /* Infinite loop */
	osSemaphoreWait(myBinarySem02Handle, osWaitForever);
		  for(;;)
		  {
			  osDelay(delay);

			  osSemaphoreWait(myMutex01Handle, osWaitForever);
			  HAL_UART_Transmit(&huart1,( uint8_t * )arrivato,sizeof(arrivato),HAL_MAX_DELAY);
			  uint32_t start = HAL_GetTick();

			  uint16_t temperaturaElevata=0;
			  tempRicevuta=osMessageGet(myQueue02Handle,200);
			  temperaturaElevata = (((Temp*)tempRicevuta.value.p)->tempValue);

			  uint16_t pulsanteAttivato=0;
			  statoPulsanteRicevuto=osMessageGet(myQueue03Handle,200);
			  pulsanteAttivato = (((Temp*)statoPulsanteRicevuto.value.p)->tempValue);

			  if(temperaturaElevata == 1 || pulsanteAttivato == 1 ){
				  uint16_t PROXIMITY_Value = VL53L0X_PROXIMITY_GetDistance();
				  if(PROXIMITY_Value != 0){
					  int gesture_code = tof_gestures_detectSWIPE_1(PROXIMITY_Value, &gestureSwipeData);
					  Data DataToSend1 = {PROXIMITY_Value,gesture_code};
					  osMessagePut(myQueue01Handle,(uint32_t)&DataToSend1,200);
					  messaggioTrasmesso = 1;
				  }
				  if(b3>0){
					  b3=0;
					  osSemaphoreRelease(myBinarySem03Handle);
				  }
				  osSemaphoreRelease(myBinarySem02Handle);
			  }
			  else if (temperaturaElevata == 0 || pulsanteAttivato == 0){
				  b2=1;
			  }

			  uint32_t end = HAL_GetTick();
			  time3 = end - start;

			  osSemaphoreRelease(myMutex01Handle);
			  osSemaphoreWait(myBinarySem02Handle, osWaitForever);

		  }
  /* USER CODE END StartTaskDistanza */
}

void StartTaskLed(void const * argument)
{
  /* USER CODE BEGIN StartTaskLed */
  /* Infinite loop */
	osSemaphoreWait(myBinarySem03Handle, osWaitForever);
			  for(;;)
			  {
				  osDelay(delay);
				  osSemaphoreWait(myMutex01Handle, osWaitForever);
				  uint32_t start = HAL_GetTick();

				  if(b2>0 || messaggioTrasmesso == 0){
					  b3=1;
				  }
				  else{
					  messaggioTrasmesso = 0;
					  distanzaRicevuta=osMessageGet(myQueue01Handle,200);
					  uint16_t distance = (((Data*)distanzaRicevuta.value.p)->Distance);
					  int gesture = (((Data*)distanzaRicevuta.value.p)->Gesture);

					  if(distance == 8190){
						  HAL_UART_Transmit(&huart1,( uint8_t * )msgdist,sizeof(msgdist),HAL_MAX_DELAY);
					  }
					  else{
						  if(snprintf(str_tmp2,30,"Distanza = %d \n\r", distance)>0){
							  HAL_UART_Transmit(&huart1,( uint8_t * )str_tmp2,sizeof(str_tmp2),HAL_MAX_DELAY);
						  }
					  }

					  if(gesture == 5){
						  action = 2;
					  }
					  if(gesture == 0 && action == 0){
						  HAL_UART_Transmit(&huart1,( uint8_t * )msggest,sizeof(msggest),HAL_MAX_DELAY);
					  }
					  else if(gesture == 0 && action == 2){
						  HAL_UART_Transmit(&huart1,( uint8_t * )msggest2,sizeof(msggest2),HAL_MAX_DELAY);

					  }
					  else{
						  if(snprintf(str_tmp5,30,"Gesto = %d\n\r",gesture)>0){
							  HAL_UART_Transmit(&huart1,( uint8_t * )str_tmp5,sizeof(str_tmp5),HAL_MAX_DELAY);
						  }
					  }

	  				  if((gesture==0 && action == 2)||((gesture == 5 || gesture == 6 ) && distance < distMax && distance > distMin)){
	  					HAL_GPIO_TogglePin(LED3_WIFI__LED4_BLE_GPIO_Port,LED3_WIFI__LED4_BLE_Pin);
	  				  }
	  				  else if (distance < distMax && distance > distMin){
	  					HAL_GPIO_TogglePin(LED3_WIFI__LED4_BLE_GPIO_Port,LED3_WIFI__LED4_BLE_Pin);
	  				  }
	  				  else if (distance <= distMin){
	  					HAL_GPIO_TogglePin(LED3_WIFI__LED4_BLE_GPIO_Port,LED3_WIFI__LED4_BLE_Pin);
	  					HAL_UART_Transmit(&huart1,( uint8_t * )porta,sizeof(porta),HAL_MAX_DELAY);
	  				  }
	  				  else{
	  					HAL_GPIO_WritePin(LED3_WIFI__LED4_BLE_GPIO_Port, LED3_WIFI__LED4_BLE_Pin,  GPIO_PIN_RESET);
	  				  }
	  				HAL_GPIO_WritePin(LED2_GPIO_Port, LED2_Pin, GPIO_PIN_RESET);
	  				osSemaphoreRelease(myBinarySem03Handle);

				  }

				  uint32_t end = HAL_GetTick();
				  time4 = end - start;

				  osSemaphoreRelease(myMutex01Handle);
				  osSemaphoreWait(myBinarySem03Handle, osWaitForever);

			  }
  /* USER CODE END StartTaskLed */
}

void Error_Handler(void)
{
}

/************************ (C) COPYRIGHT STMicroelectronics *****END OF FILE****/
